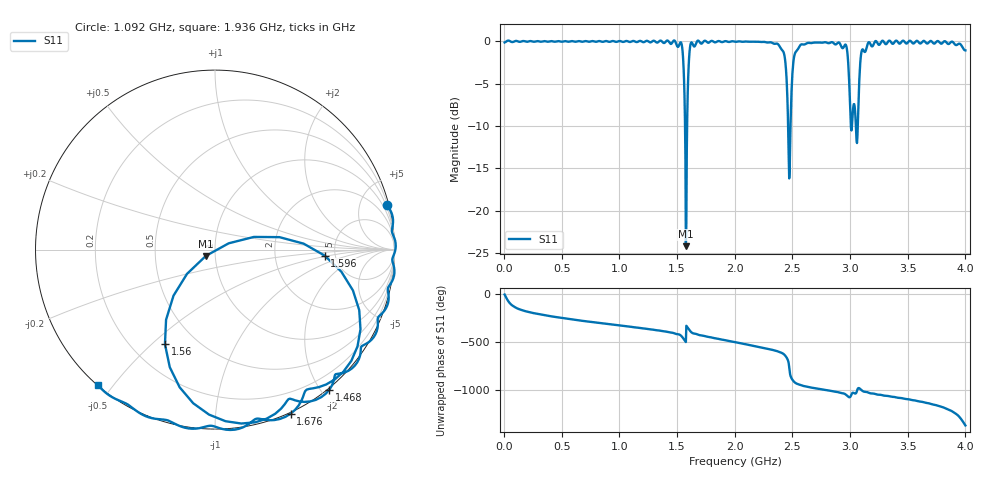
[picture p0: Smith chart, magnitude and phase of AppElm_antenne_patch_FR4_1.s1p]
! TOUCHSTONE file generated by CST MICROWAVE STUDIO
! Date and time: Tue Jun 14 13:48:49 2022
! Project name: AppElm_antenne_patch_FR4.cst
! Parameters = {L=45; W=58.5; e=0.035; h=1.6; lambda=0.190476; ls=120; w0=2.54; w1=0.847; ws=120; y0=18; y1=17.85}
! Header version: 2018
! Port assignment regex: !\s*Touchstone port\s*([0-9]+)\s*=\s*(CST MWS port|CST DS port)\s*([0-9]+|Zmin|Zmax)\s*\(\"(.*)\"\)(\s*mode\s*([0-9]+))?.*
! Touchstone port assignment:
! Touchstone port 1 = CST MWS port 1 ("")
# GHz S MA R 50
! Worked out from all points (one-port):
!   1000 points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, 4 MHz to 4 GHz, reference 50 ohm
!   lowest |S11| = -24.2 dB at 1.576 GHz (marker M1), VSWR 1.13, Z = 45.1 - j3.17 ohm
!   |S11| at or under -10 dB: 1.569 GHz to 1.587 GHz (18.09 MHz wide, 1.15 % of centre); 2.463 GHz to 2.483 GHz (20.86 MHz wide, 0.844 % of centre); 3.05 GHz to 3.067 GHz (16.3 MHz wide, 0.533 % of centre)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
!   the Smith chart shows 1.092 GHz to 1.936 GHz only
!   S11 on the Smith chart (normalised r, x): 1.092 GHz: 0.25, +7.79; 1.468 GHz: -0.02, -2.11; 1.56 GHz: 0.34, -0.55; 1.596 GHz: 4.10, -0.44; 1.676 GHz: -0.01, -1.56; 1.936 GHz: 0.00, -0.46
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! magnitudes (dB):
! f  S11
! 4 MHz  -0.1
! 504 MHz  0.0
! 1.004 GHz  0.0
! 1.092 GHz  -0.1
! 1.468 GHz  0.1
! 1.504 GHz  -0.6
! 1.54 GHz  -0.4
! 1.56 GHz  -4.5
! 1.576 GHz  -24.2
! 1.596 GHz  -4.3
! 1.616 GHz  -0.4
! 1.676 GHz  0.1
! 1.936 GHz  0.0
! 2.004 GHz  0.0
! 2.404 GHz  -0.9
! 2.436 GHz  -2.1
! 2.472 GHz  -16.2
! 2.488 GHz  -7.6
! 2.504 GHz  -3.0
! 2.576 GHz  -0.4
! 2.904 GHz  -0.1
! 2.968 GHz  -0.6
! 3.004 GHz  -9.1
! 3.056 GHz  -11.7
! 3.1 GHz  -1.2
! 3.16 GHz  -0.1
! 3.504 GHz  -0.1
! 4 GHz  -1.1
